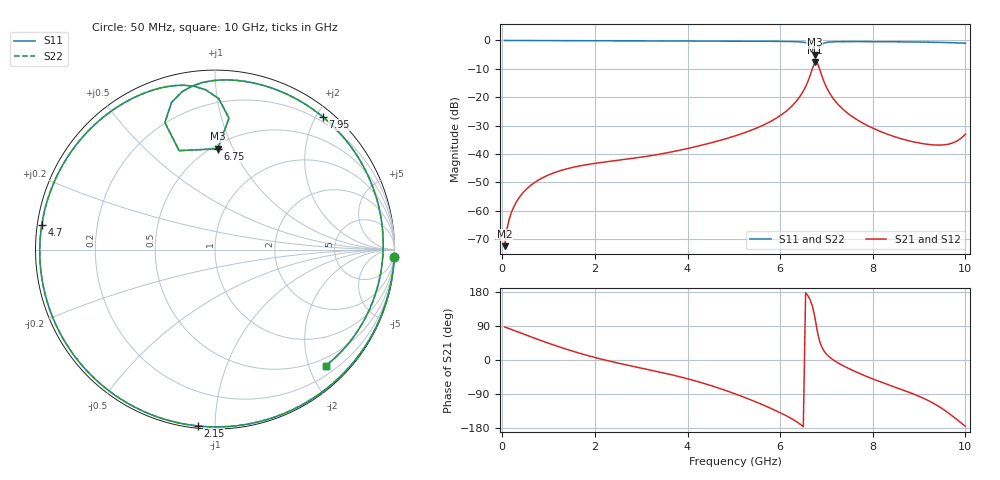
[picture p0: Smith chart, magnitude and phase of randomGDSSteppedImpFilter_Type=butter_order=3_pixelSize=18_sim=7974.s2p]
! freq	dB(S11)	phase(S11)	dB(S12)	phase(S12)
!  dB(S21)	phase(S21)	dB(S22)	phase(S22)
!S-par simulation data
#  GHz  S  DB  R 50
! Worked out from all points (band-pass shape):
!   200 points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, 50 MHz to 10 GHz, reference 50 ohm
!   highest |S21| = -7.67 dB at 6.75 GHz (marker M1); lowest = -72.5 dB at 50 MHz (marker M2)
!   |S21| within 3 dB of the highest: 6.681 GHz to 6.863 GHz (182.1 MHz wide, 2.69 % of centre)
!   lowest |S11| = -5.0 dB at 6.75 GHz (marker M3), VSWR 3.56, Z = 26.6 + j43.7 ohm
!   |S11| at or under -10 dB: nowhere
!   |S22| runs from -5.0 to 0.0 dB; largest |S21 - S12| = 0
!   S11 on the Smith chart (normalised r, x): 50 MHz: 0, -48; 2.15 GHz: 0.01, -0.91; 4.7 GHz: 0.01, +0.07; 6.75 GHz: 0.53, +0.87; 7.95 GHz: 0.13, +2.09; 10 GHz: 0.35, -2.29
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0.05  -0.00 -2.4  -72.55 87.1  -72.55 87.1  -0.00 -2.4
0.1  -0.01 -4.8  -66.52 85.0  -66.52 85.0  -0.01 -4.8
0.2  -0.01 -9.5  -60.53 80.4  -60.53 80.4  -0.01 -9.5
0.5  -0.03 -23.6  -52.78 66.4  -52.78 66.4  -0.03 -23.6
1.15  -0.07 -53.4  -46.47 37.8  -46.47 37.8  -0.07 -53.4
1.75  -0.09 -79.3  -44.01 15.0  -44.01 15.0  -0.09 -79.3
2.15  -0.11 -95.6  -43.01 2.0  -43.01 2.0  -0.11 -95.6
3.4  -0.16 -142.5  -40.10 -31.7  -40.10 -31.7  -0.16 -142.5
4.7  -0.22 172.0  -35.25 -75.2  -35.25 -75.2  -0.22 172.0
5.05  -0.24 159.7  -33.54 -90.3  -33.54 -90.3  -0.24 159.7
6.2  -0.37 115.9  -23.97 -151.6  -23.97 -151.6  -0.37 115.8
6.55  -0.75 97.3  -16.27 177.5  -16.27 177.5  -0.75 97.3
6.7  -2.66 83.9  -9.72 140.8  -9.72 140.8  -2.66 83.9
6.75  -5.01 88.4  -7.67 112.6  -7.67 112.6  -5.01 88.4
6.85  -2.38 111.6  -10.02 50.4  -10.02 50.4  -2.38 111.5
7  -0.71 97.7  -16.50 15.5  -16.50 15.5  -0.71 97.7
7.25  -0.44 83.1  -22.55 -7.8  -22.55 -7.8  -0.44 83.1
7.95  -0.42 51.0  -30.54 -47.5  -30.54 -47.5  -0.42 51.0
8.35  -0.46 33.0  -33.27 -65.9  -33.27 -65.9  -0.46 33.0
9.2  -0.60 -6.4  -36.67 -107.2  -36.67 -107.2  -0.60 -6.4
9.65  -0.76 -28.3  -36.51 -141.4  -36.51 -141.4  -0.76 -28.3
10  -0.97 -46.4  -33.05 -175.0  -33.05 -175.0  -0.97 -46.3
